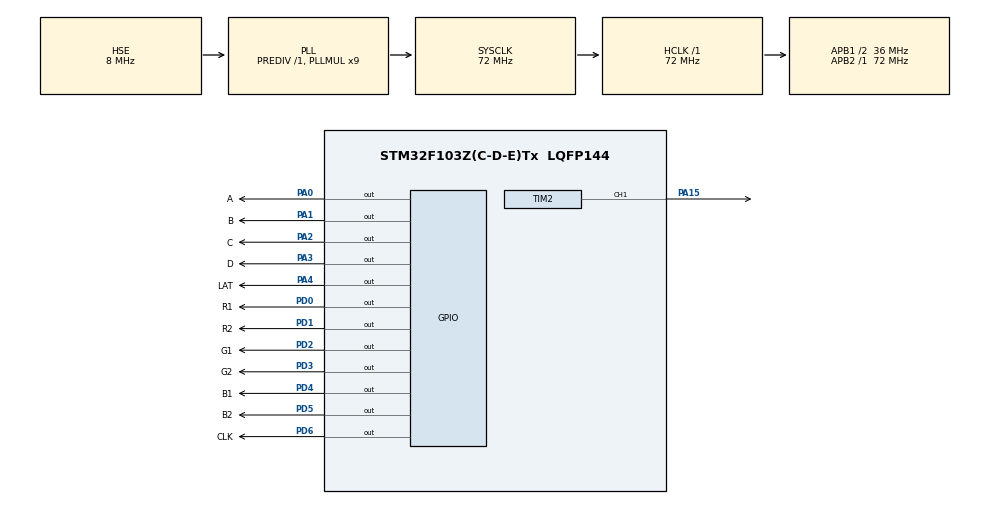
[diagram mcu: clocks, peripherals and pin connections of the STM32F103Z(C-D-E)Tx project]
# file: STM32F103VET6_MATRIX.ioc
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Mcu.Family=STM32F1
Mcu.Name=STM32F103Z(C-D-E)Tx
Mcu.Package=LQFP144
NVIC.PriorityGroup=NVIC_PRIORITYGROUP_4
NVIC.TIM1_UP_IRQn=true\:0\:0\:false\:false\:true\:true
OSC_IN.Mode=HSE-External-Oscillator
OSC_IN.Signal=RCC_OSC_IN
OSC_OUT.Mode=HSE-External-Oscillator
OSC_OUT.Signal=RCC_OSC_OUT
PA0-WKUP.GPIO_Label=A
PA0-WKUP.GPIO_Speed=GPIO_SPEED_FREQ_HIGH
PA0-WKUP.PinState=GPIO_PIN_SET
PA0-WKUP.Signal=GPIO_Output
PA1.GPIO_Label=B
PA1.GPIO_Speed=GPIO_SPEED_FREQ_HIGH
PA1.PinState=GPIO_PIN_SET
PA1.Signal=GPIO_Output
PA13.Mode=Serial_Wire
PA13.Signal=SYS_JTMS-SWDIO
PA14.Mode=Serial_Wire
PA14.Signal=SYS_JTCK-SWCLK
PA15.GPIO_Speed=GPIO_SPEED_FREQ_HIGH
PA15.Signal=S_TIM2_CH1_ETR
PA2.GPIO_Label=C
PA2.GPIO_Speed=GPIO_SPEED_FREQ_HIGH
PA2.PinState=GPIO_PIN_SET
PA2.Signal=GPIO_Output
PA3.GPIO_Label=D
PA3.GPIO_Speed=GPIO_SPEED_FREQ_HIGH
PA3.PinState=GPIO_PIN_SET
PA3.Signal=GPIO_Output
PA4.GPIO_Label=LAT
PA4.GPIO_Speed=GPIO_SPEED_FREQ_HIGH
PA4.PinState=GPIO_PIN_SET
PA4.Signal=GPIO_Output
PD0.GPIO_Label=R1
PD0.GPIO_Speed=GPIO_SPEED_FREQ_HIGH
PD0.PinState=GPIO_PIN_SET
PD0.Signal=GPIO_Output
PD1.GPIO_Label=R2
PD1.GPIO_Speed=GPIO_SPEED_FREQ_HIGH
PD1.PinState=GPIO_PIN_SET
PD1.Signal=GPIO_Output
PD2.GPIO_Label=G1
PD2.GPIO_Speed=GPIO_SPEED_FREQ_HIGH
PD2.PinState=GPIO_PIN_SET
PD2.Signal=GPIO_Output
PD3.GPIO_Label=G2
PD3.GPIO_Speed=GPIO_SPEED_FREQ_HIGH
PD3.PinState=GPIO_PIN_SET
PD3.Signal=GPIO_Output
PD4.GPIO_Label=B1
PD4.GPIO_Speed=GPIO_SPEED_FREQ_HIGH
PD4.PinState=GPIO_PIN_SET
PD4.Signal=GPIO_Output
PD5.GPIO_Label=B2
PD5.GPIO_Speed=GPIO_SPEED_FREQ_HIGH
PD5.PinState=GPIO_PIN_SET
PD5.Signal=GPIO_Output
PD6.GPIO_Label=CLK
PD6.GPIO_Speed=GPIO_SPEED_FREQ_HIGH
PD6.PinState=GPIO_PIN_SET
PD6.Signal=GPIO_Output
ProjectManager.HeapSize=0x200
ProjectManager.StackSize=0x400
ProjectManager.TargetToolchain=MDK-ARM V5
RCC.AHBFreq_Value=72000000
RCC.APB1CLKDivider=RCC_HCLK_DIV2
RCC.APB1Freq_Value=36000000
RCC.APB1TimFreq_Value=72000000
RCC.APB2Freq_Value=72000000
RCC.APB2TimFreq_Value=72000000
RCC.HCLKFreq_Value=72000000
RCC.PLLMUL=RCC_PLL_MUL9
RCC.PLLSourceVirtual=RCC_PLLSOURCE_HSE
RCC.SYSCLKFreq_VALUE=72000000
RCC.SYSCLKSource=RCC_SYSCLKSOURCE_PLLCLK
RCC.USBFreq_Value=72000000
SH.S_TIM2_CH1_ETR.0=TIM2_CH1,PWM Generation1 CH1
TIM1.CounterMode=TIM_COUNTERMODE_DOWN
TIM1.Period=40
TIM2.Channel-PWM\ Generation1\ CH1=TIM_CHANNEL_1
TIM2.Period=100
VP_TIM1_VS_ClockSourceINT.Mode=Internal
VP_TIM2_VS_ClockSourceINT.Mode=Internal
board=custom

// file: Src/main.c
/* USER CODE BEGIN Header */
/**
  ******************************************************************************
  * @file           : main.c
  * @brief          : Main program body
  ******************************************************************************
  ** This notice applies to any and all portions of this file
  * that are not between comment pairs USER CODE BEGIN and
  * USER CODE END. Other portions of this file, whether
  * inserted by the user or by software development tools
  * are owned by their respective copyright owners.
  *
  * COPYRIGHT(c) 2020 STMicroelectronics
  *
  * Redistribution and use in source and binary forms, with or without modification,
  * are permitted provided that the following conditions are met:
  *   1. Redistributions of source code must retain the above copyright notice,
  *      this list of conditions and the following disclaimer.
  *   2. Redistributions in binary form must reproduce the above copyright notice,
  *      this list of conditions and the following disclaimer in the documentation
  *      and/or other materials provided with the distribution.
  *   3. Neither the name of STMicroelectronics nor the names of its contributors
  *      may be used to endorse or promote products derived from this software
  *      without specific prior written permission.
  *
  * THIS SOFTWARE IS PROVIDED BY THE COPYRIGHT HOLDERS AND CONTRIBUTORS "AS IS"
  * AND ANY EXPRESS OR IMPLIED WARRANTIES, INCLUDING, BUT NOT LIMITED TO, THE
  * IMPLIED WARRANTIES OF MERCHANTABILITY AND FITNESS FOR A PARTICULAR PURPOSE ARE
  * DISCLAIMED. IN NO EVENT SHALL THE COPYRIGHT HOLDER OR CONTRIBUTORS BE LIABLE
  * FOR ANY DIRECT, INDIRECT, INCIDENTAL, SPECIAL, EXEMPLARY, OR CONSEQUENTIAL
  * DAMAGES (INCLUDING, BUT NOT LIMITED TO, PROCUREMENT OF SUBSTITUTE GOODS OR
  * SERVICES; LOSS OF USE, DATA, OR PROFITS; OR BUSINESS INTERRUPTION) HOWEVER
  * CAUSED AND ON ANY THEORY OF LIABILITY, WHETHER IN CONTRACT, STRICT LIABILITY,
  * OR TORT (INCLUDING NEGLIGENCE OR OTHERWISE) ARISING IN ANY WAY OUT OF THE USE
  * OF THIS SOFTWARE, EVEN IF ADVISED OF THE POSSIBILITY OF SUCH DAMAGE.
  *
  ******************************************************************************
  */
/* USER CODE END Header */

#include "main.h"

/* USER CODE BEGIN Includes */
#include "font.h"
#include "banana.h"
#define setbit(sfr,bit)		(sfr|=(1<<bit))
#define clrbit(sfr,bit)		(sfr&=~(1<<bit))

char check_bit(unsigned char byte,unsigned char bit){
	if((byte&(1<<bit))==0x00){
		return 0;
	}
	else{
		return 1;
	}
}
#define setbit(sfr,bit)		(sfr|=(1<<bit))
#define clrbit(sfr,bit)		(sfr&=~(1<<bit))
/* USER CODE END Includes */

TIM_HandleTypeDef htim1;
TIM_HandleTypeDef htim2;

void SystemClock_Config(void);
static void MX_GPIO_Init(void);
static void MX_TIM1_Init(void);
static void MX_TIM2_Init(void);

/* USER CODE BEGIN 0 */
unsigned char manght[3][64][128];
unsigned char mangxuatled[16][8][256];
const unsigned int mangtg[]={40,80,160,320,640,1280,2560,5120};
void giaima(){
	unsigned int hang,ktbit,cot,pixel,pwm;
	for(hang=0;hang<16;hang++){
		 for(pwm=0,pixel=0x01;pwm<8;pixel<<=1,pwm++){
			 for(cot=0;cot<256;cot++){
				 if(cot<128){
					 mangxuatled[hang][pwm][cot]=0;
					 if((manght[0][hang][cot] & pixel)) {mangxuatled[hang][pwm][cot] |= 0x01;}
					 if((manght[0][hang+16][cot] & pixel)) {mangxuatled[hang][pwm][cot] |= 0x02;}
					 if((manght[1][hang][cot] & pixel)) {mangxuatled[hang][pwm][cot] |= 0x04;}
					 if((manght[1][hang+16][cot] & pixel)) {mangxuatled[hang][pwm][cot] |= 0x08;}
					 if((manght[2][hang][cot] & pixel)) {mangxuatled[hang][pwm][cot] |= 0x10;}
					 if((manght[2][hang+16][cot] & pixel)) {mangxuatled[hang][pwm][cot] |= 0x20;}
				 }
				 else{
					 mangxuatled[hang][pwm][cot]=0;
					 if((manght[0][64-hang][128-cot] & pixel)) {mangxuatled[hang][pwm][cot] |= 0x01;}
					 if((manght[0][48-hang][128-cot] & pixel)) {mangxuatled[hang][pwm][cot] |= 0x02;}
					 if((manght[1][64-hang][128-cot] & pixel)) {mangxuatled[hang][pwm][cot] |= 0x04;}
					 if((manght[1][48-hang][128-cot] & pixel)) {mangxuatled[hang][pwm][cot] |= 0x08;}
					 if((manght[2][64-hang][128-cot] & pixel)) {mangxuatled[hang][pwm][cot] |= 0x10;}
					 if((manght[2][48-hang][128-cot] & pixel)) {mangxuatled[hang][pwm][cot] |= 0x20;}
				 }
			 }
		 }
	}
}
union tinhieudk
{
	unsigned char bytedk;
  struct
	{
		int  hang:4;
		int  tgian :3;
		int  chot:1;
	}thanhphan;
} bytedieukhien;
void HAL_TIM_PeriodElapsedCallback(TIM_HandleTypeDef *htim){
	if(htim -> Instance == TIM1){
		 for(int __i=0;__i<256;__i++){
			 GPIOD->ODR = (unsigned short) mangxuatled[bytedieukhien.thanhphan.hang][bytedieukhien.thanhphan.tgian][__i];
			 GPIOD->ODR |= 0x0040;
		 }
		 GPIOA -> ODR |= (1<<4);
		 TIM1->ARR = mangtg[bytedieukhien.thanhphan.tgian];
		 GPIOA -> ODR = bytedieukhien.thanhphan.hang;
		 bytedieukhien.bytedk++;
	}
}
void MATRIX_pixel_color(unsigned char x, unsigned char y,unsigned char r,unsigned char g,unsigned char b){
		manght[0][y][x]=r;
		manght[1][y][x]=g;
		manght[2][y][x]=b;
}
void MATRIX_line(unsigned int x1, unsigned int y1, unsigned int x2, unsigned int y2, unsigned char r,unsigned char g,unsigned char b)
{
   unsigned int        dy, dx;
   signed int  addx=1, addy=1;
   signed int P, diff;

   #ifdef LARGE_LCD
   unsigned int i=0;
   dx = abs((signed int)(x2 - x1));
   dy = abs((signed int)(y2 - y1));
   #else
   unsigned int  i=0;
   dx = abs((signed int)(x2 - x1));
   dy = abs((signed int)(y2 - y1));
   #endif
   if(x1 > x2)
      addx = -1;
   if(y1 > y2)
      addy = -1;
   if(dx >= dy)
   {
      dy *= 2;
      P = dy - dx;
      diff = P - dx;

      for(; i<=dx; ++i)
      {
    	  MATRIX_pixel_color(x1, y1, r,g,b);
         if(P < 0)
         {
            P  += dy;
            x1 += addx;
         }
         else
         {
            P  += diff;
            x1 += addx;
            y1 += addy;
         }
      }
   }
   else
   {
      dx *= 2;
      P = dx - dy;
      diff = P - dy;
      for(; i<=dy; ++i)
      {
    	  MATRIX_pixel_color(x1, y1, r,g,b);

         if(P < 0)
         {
            P  += dx;
            y1 += addy;
         }
         else
         {
            P  += diff;
            x1 += addx;
            y1 += addy;
         }
      }
   }
}
void MATRIX_circle(unsigned int x, unsigned int y, unsigned int radius, int fill,  unsigned char r1,unsigned char g1,unsigned char b1)
{
   signed int  a, b, P;
   a = 0;
   b = radius;
   P = 1 - radius;
   do
   {
      if(fill)
      {
    	  MATRIX_line(x-a, y+b, x+a, y+b,r1,g1,b1);
    	  MATRIX_line(x-a, y-b, x+a, y-b,r1,g1,b1);
    	  MATRIX_line(x-b, y+a, x+b, y+a,r1,g1,b1);
    	  MATRIX_line(x-b, y-a, x+b, y-a,r1,g1,b1);
      }
      else
      {
    	  MATRIX_pixel_color(a+x, b+y, r1,g1,b1);
    	  MATRIX_pixel_color(b+x, a+y, r1,g1,b1);
    	  MATRIX_pixel_color(x-a, b+y, r1,g1,b1);
    	  MATRIX_pixel_color(x-b, a+y, r1,g1,b1);
    	  MATRIX_pixel_color(b+x, y-a, r1,g1,b1);
    	  MATRIX_pixel_color(a+x, y-b, r1,g1,b1);
    	  MATRIX_pixel_color(x-a, y-b, r1,g1,b1);
    	  MATRIX_pixel_color(x-b, y-a, r1,g1,b1);
      }
      if(P < 0)
         P += 3 + 2 * a++;
      else
         P += 5 + 2 * (a++ - b--);
    } while(a <= b);
}
void MATRIX_rect(unsigned int x1, unsigned int y1, unsigned int x2, unsigned int y2, int fill, unsigned char r,unsigned char g,unsigned char b)
{
   if(fill)
   {
      #ifdef LARGE_LCD
      unsigned int i, xmin, xmax, ymin, ymax;
      #else
      unsigned int  i, xmin, xmax, ymin, ymax;
      #endif
      if(x1 < x2)                            //  Find x min and max
      {
         xmin = x1;
         xmax = x2;
      }
      else
      {
         xmin = x2;
         xmax = x1;
      }

      if(y1 < y2)                            // Find the y min and max
      {
         ymin = y1;
         ymax = y2;
      }
      else
      {
         ymin = y2;
         ymax = y1;
      }
      for(; xmin <= xmax; ++xmin)
      {
         for(i=ymin; i<=ymax; ++i)
         {
        	 MATRIX_pixel_color(xmin, i, r,g,b);
         }
      }
   }
   else
   {
      MATRIX_line(x1, y1, x2, y1, r,g,b);      // Draw the 4 sides
      MATRIX_line(x1, y2, x2, y2, r,g,b);
      MATRIX_line(x1, y1, x1, y2, r,g,b);
      MATRIX_line(x2, y1, x2, y2, r,g,b);
   }
}
void MATRIX_putchar8x8(unsigned char x,unsigned char y,unsigned char chu,unsigned char r,unsigned char g,unsigned char b){
	chu=chu-32;
	for(int i=0;i<8;i++){
		for(int j=0;j<8;j++){
				if(check_bit(myfont8x8[chu][i],j)){
					MATRIX_pixel_color(x+i,y+j,r,g,b);
				}
		}
	}
}
void MATRIX_putStr8x8(unsigned char x,unsigned char y,unsigned char a[],unsigned char r,unsigned char g,unsigned char b){
	unsigned char i=0;
	while(a[i]!=0x00){
		 MATRIX_putchar8x8(x,y,a[i],r,g,b);
		 i++;
		 y=y+8;
	}
}
void MATRIX_putchar16x32(unsigned char x,unsigned char y,unsigned char chu,unsigned char r,unsigned char g,unsigned char b){
	for(int i=0;i<64;i=i+2){
		for(int j=0;j<16;j++){
				if(check_bit(myfont16x32[chu][i+j/8],(15-j)%8)){
					MATRIX_pixel_color(y+j,x+i/2,r,g,b);
				}
		}
	}
}
void MATRIX_putStr16x32(unsigned char x,unsigned char y,unsigned char a[],unsigned char r,unsigned char g,unsigned char b){
	unsigned char i=0;
	while(a[i]!=0x00){
		 MATRIX_putchar16x32(x,y,a[i],r,g,b);
		 i++;
		 y=y+15;
	}
}
void drawPixelRGB565(int16_t x, int16_t y, uint16_t color) {
  uint8_t r = ((((color >> 11) & 0x1F) * 527) + 23) >> 6;
  uint8_t g = ((((color >> 5) & 0x3F) * 259) + 33) >> 6;
  uint8_t b = (((color & 0x1F) * 527) + 23) >> 6;
  MATRIX_pixel_color( x,  y, r, g,b);
}
void drawImage(int x, int y,int w,int h,uint16_t *a)
{
  int imageHeight = h;
  int imageWidth = w;
  int counter = 0;
  for (int yy = 0; yy < imageHeight; yy++)
  {
    for (int xx = 0; xx < imageWidth; xx++)
    {
      drawPixelRGB565(xx + x , yy + y, a[counter]);
      counter++;
    }
  }
}
void matrix_clear_green(unsigned char x,unsigned char y){
	for(unsigned char k=0;k<3;k++){
		for(int i=0;i<x;i++){
			for(int j=0;j<y;j++){
				manght[k][i][j]=0;
			}
		}
	}
}
void giaimaanh3(unsigned char *anh, unsigned int dai, unsigned int rong, signed int x, signed int y)
{
  unsigned short n,hang=0,cot=0;
   for(n=0;n<(dai*rong);n++)
   {
				if(anh[n]==0x00&&anh[dai*rong+n]==0x00&&anh[2*dai*rong+n]==0x00){
					cot++;
					if(cot==dai) {cot=0;hang++;}
				}
				else{
						manght[0][x+hang][y+cot]=anh[n];
						manght[1][x+hang][y+cot]=anh[dai*rong+n];
						manght[2][x+hang][y+cot]=anh[2*dai*rong+n];
         cot++;
         if(cot==dai) {cot=0;hang++;}
			  }
   }
}
/* USER CODE END 0 */

int main(void)
{

  /* MCU Configuration--------------------------------------------------------*/

  /* Reset of all peripherals, Initializes the Flash interface and the Systick. */
  HAL_Init();

  /* Configure the system clock */
  SystemClock_Config();

  /* Initialize all configured peripherals */
  MX_GPIO_Init();
  MX_TIM1_Init();
  MX_TIM2_Init();
  /* USER CODE BEGIN 2 */
	HAL_TIM_Base_Start(&htim2);
	HAL_TIM_PWM_Start(&htim2,TIM_CHANNEL_1);
	__HAL_TIM_SET_COMPARE(&htim2,TIM_CHANNEL_1,10);
	HAL_TIM_Base_Start_IT(&htim1);
	unsigned char chay=0;
  /* USER CODE END 2 */

  /* Infinite loop */
  while (1)
  {

    /* USER CODE BEGIN 3 */
	//	MATRIX_putStr16x32(0,64,"DO 2",255,255,255);
	//	MATRIX_putStr16x32(32,0,"DO 2",255,255,255);
		MATRIX_circle(64,32,31,1,255,255,255);
		drawImage(chay,16,64,32,(uint16_t *)mario);
		chay++;
		if(chay>128) chay=0;
	//	giaimaanh3((unsigned char *)lennabmp,64,32,0,0);
	//	drawImage(0,0,64,32,(uint16_t *)banana_frame_1);
		giaima();
		matrix_clear_green(64,128);
  }
  /* USER CODE END 3 */
}

void SystemClock_Config(void)
{
  RCC_OscInitTypeDef RCC_OscInitStruct = {0};
  RCC_ClkInitTypeDef RCC_ClkInitStruct = {0};

  /**Initializes the CPU, AHB and APB busses clocks
  */
  RCC_OscInitStruct.OscillatorType = RCC_OSCILLATORTYPE_HSE;
  RCC_OscInitStruct.HSEState = RCC_HSE_ON;
  RCC_OscInitStruct.HSEPredivValue = RCC_HSE_PREDIV_DIV1;
  RCC_OscInitStruct.HSIState = RCC_HSI_ON;
  RCC_OscInitStruct.PLL.PLLState = RCC_PLL_ON;
  RCC_OscInitStruct.PLL.PLLSource = RCC_PLLSOURCE_HSE;
  RCC_OscInitStruct.PLL.PLLMUL = RCC_PLL_MUL9;
  if (HAL_RCC_OscConfig(&RCC_OscInitStruct) != HAL_OK)
  {
    Error_Handler();
  }
  /**Initializes the CPU, AHB and APB busses clocks
  */
  RCC_ClkInitStruct.ClockType = RCC_CLOCKTYPE_HCLK|RCC_CLOCKTYPE_SYSCLK
                              |RCC_CLOCKTYPE_PCLK1|RCC_CLOCKTYPE_PCLK2;
  RCC_ClkInitStruct.SYSCLKSource = RCC_SYSCLKSOURCE_PLLCLK;
  RCC_ClkInitStruct.AHBCLKDivider = RCC_SYSCLK_DIV1;
  RCC_ClkInitStruct.APB1CLKDivider = RCC_HCLK_DIV2;
  RCC_ClkInitStruct.APB2CLKDivider = RCC_HCLK_DIV1;

  if (HAL_RCC_ClockConfig(&RCC_ClkInitStruct, FLASH_LATENCY_2) != HAL_OK)
  {
    Error_Handler();
  }
}

static void MX_TIM1_Init(void)
{

  TIM_ClockConfigTypeDef sClockSourceConfig = {0};
  TIM_MasterConfigTypeDef sMasterConfig = {0};

  htim1.Instance = TIM1;
  htim1.Init.Prescaler = 5;
  htim1.Init.CounterMode = TIM_COUNTERMODE_DOWN;
  htim1.Init.Period = 40;
  htim1.Init.ClockDivision = TIM_CLOCKDIVISION_DIV1;
  htim1.Init.RepetitionCounter = 0;
  htim1.Init.AutoReloadPreload = TIM_AUTORELOAD_PRELOAD_DISABLE;
  if (HAL_TIM_Base_Init(&htim1) != HAL_OK)
  {
    Error_Handler();
  }
  sClockSourceConfig.ClockSource = TIM_CLOCKSOURCE_INTERNAL;
  if (HAL_TIM_ConfigClockSource(&htim1, &sClockSourceConfig) != HAL_OK)
  {
    Error_Handler();
  }
  sMasterConfig.MasterOutputTrigger = TIM_TRGO_RESET;
  sMasterConfig.MasterSlaveMode = TIM_MASTERSLAVEMODE_DISABLE;
  if (HAL_TIMEx_MasterConfigSynchronization(&htim1, &sMasterConfig) != HAL_OK)
  {
    Error_Handler();
  }

}

static void MX_TIM2_Init(void)
{

  TIM_ClockConfigTypeDef sClockSourceConfig = {0};
  TIM_MasterConfigTypeDef sMasterConfig = {0};
  TIM_OC_InitTypeDef sConfigOC = {0};

  htim2.Instance = TIM2;
  htim2.Init.Prescaler = 0;
  htim2.Init.CounterMode = TIM_COUNTERMODE_UP;
  htim2.Init.Period = 100;
  htim2.Init.ClockDivision = TIM_CLOCKDIVISION_DIV1;
  htim2.Init.AutoReloadPreload = TIM_AUTORELOAD_PRELOAD_DISABLE;
  if (HAL_TIM_Base_Init(&htim2) != HAL_OK)
  {
    Error_Handler();
  }
  sClockSourceConfig.ClockSource = TIM_CLOCKSOURCE_INTERNAL;
  if (HAL_TIM_ConfigClockSource(&htim2, &sClockSourceConfig) != HAL_OK)
  {
    Error_Handler();
  }
  if (HAL_TIM_PWM_Init(&htim2) != HAL_OK)
  {
    Error_Handler();
  }
  sMasterConfig.MasterOutputTrigger = TIM_TRGO_RESET;
  sMasterConfig.MasterSlaveMode = TIM_MASTERSLAVEMODE_DISABLE;
  if (HAL_TIMEx_MasterConfigSynchronization(&htim2, &sMasterConfig) != HAL_OK)
  {
    Error_Handler();
  }
  sConfigOC.OCMode = TIM_OCMODE_PWM1;
  sConfigOC.Pulse = 0;
  sConfigOC.OCPolarity = TIM_OCPOLARITY_HIGH;
  sConfigOC.OCFastMode = TIM_OCFAST_DISABLE;
  if (HAL_TIM_PWM_ConfigChannel(&htim2, &sConfigOC, TIM_CHANNEL_1) != HAL_OK)
  {
    Error_Handler();
  }
  HAL_TIM_MspPostInit(&htim2);

}

static void MX_GPIO_Init(void)
{
  GPIO_InitTypeDef GPIO_InitStruct = {0};

  /* GPIO Ports Clock Enable */
  __HAL_RCC_GPIOA_CLK_ENABLE();
  __HAL_RCC_GPIOD_CLK_ENABLE();

  /*Configure GPIO pin Output Level */
  HAL_GPIO_WritePin(GPIOA, A_Pin|B_Pin|C_Pin|D_Pin
                          |LAT_Pin, GPIO_PIN_SET);

  /*Configure GPIO pin Output Level */
  HAL_GPIO_WritePin(GPIOD, R1_Pin|R2_Pin|G1_Pin|G2_Pin
                          |B1_Pin|B2_Pin|CLK_Pin, GPIO_PIN_SET);

  /*Configure GPIO pins : A_Pin B_Pin C_Pin D_Pin
                           LAT_Pin */
  GPIO_InitStruct.Pin = A_Pin|B_Pin|C_Pin|D_Pin
                          |LAT_Pin;
  GPIO_InitStruct.Mode = GPIO_MODE_OUTPUT_PP;
  GPIO_InitStruct.Pull = GPIO_NOPULL;
  GPIO_InitStruct.Speed = GPIO_SPEED_FREQ_HIGH;
  HAL_GPIO_Init(GPIOA, &GPIO_InitStruct);

  /*Configure GPIO pins : R1_Pin R2_Pin G1_Pin G2_Pin
                           B1_Pin B2_Pin CLK_Pin */
  GPIO_InitStruct.Pin = R1_Pin|R2_Pin|G1_Pin|G2_Pin
                          |B1_Pin|B2_Pin|CLK_Pin;
  GPIO_InitStruct.Mode = GPIO_MODE_OUTPUT_PP;
  GPIO_InitStruct.Pull = GPIO_NOPULL;
  GPIO_InitStruct.Speed = GPIO_SPEED_FREQ_HIGH;
  HAL_GPIO_Init(GPIOD, &GPIO_InitStruct);

}

void Error_Handler(void)
{
}

/************************ (C) COPYRIGHT STMicroelectronics *****END OF FILE****/
